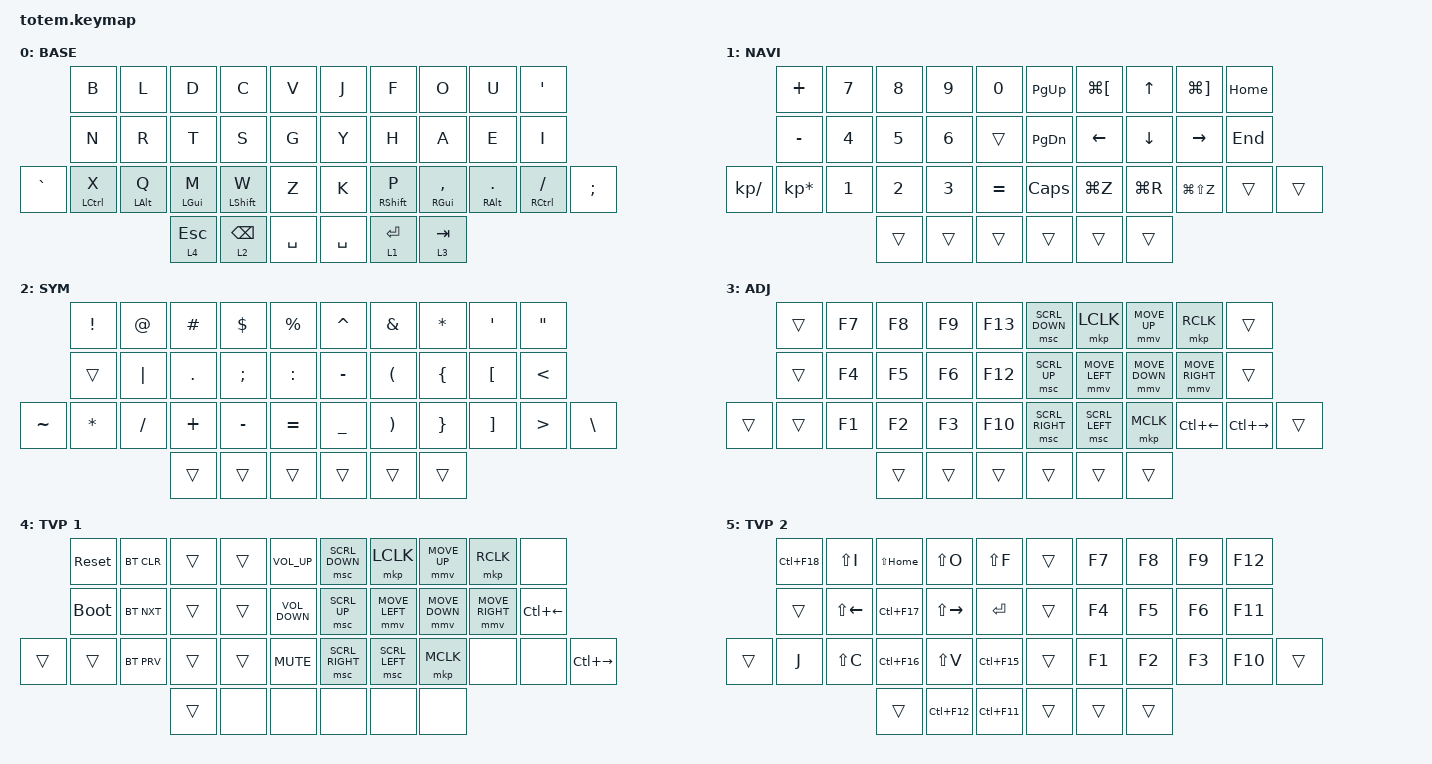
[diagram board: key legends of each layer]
//
//                                                        ▀▀▀▀▀     ▀▀▀▀▀          ▀▀█▀▀
//                                                        ▄▀▀▀▄  ▄  ▄▀▀▀▄  ▄  ▄▀▀▀▄  █  ▄▀▀▀▄
//                                                        █   █  █  █   █  █  █   █  █  █   █
//                                                         ▀▀▀   █   ▀▀▀   █   ▀▀▀   ▀   ▀▀▀
//                                                               █      ▄▄▄█▄▄▄    █   █  
//                                                               ▀      █  █  █     █▄█
//                                                             ▀▀▀▀▀    █  █  █      ▀
//                                                                      ▀  ▀  ▀
//
// ▄▄▄▄▄▄▄▄▄▄▄▄▄▄▄▄▄▄▄▄▄▄▄▄▄▄▄▄▄▄▄▄▄▄▄▄▄▄▄▄▄▄▄▄▄▄▄▄▄▄▄▄▄▄▄▄▄▄▄▄▄▄▄▄▄▄▄▄▄▄▄▄▄▄▄▄▄▄▄▄▄▄▄▄▄▄▄▄▄▄▄▄▄▄▄▄▄▄▄▄▄▄▄▄▄▄▄▄▄▄▄▄▄▄▄▄▄▄▄▄▄▄▄▄▄▄▄▄▄▄▄▄▄▄▄▄▄▄▄▄▄▄▄▄▄▄▄▄▄

#include <behaviors.dtsi>
#include <dt-bindings/zmk/bt.h>
#include <dt-bindings/zmk/keys.h>
#include <dt-bindings/zmk/pointing.h>

#define BASE 0
#define NAV  1
#define SYM  2
#define ADJ  3
#define TVP1 4
#define TVP2 5

&mt {
    quick-tap-ms = <100>;
    global-quick-tap;
    flavor = "tap-preferred";
    tapping-term-ms = <200>;
};

/ {
    combos {
        compatible = "zmk,combos";

        combo_esc {
            timeout-ms = <50>;
            key-positions = <0 1>;
            bindings = <&kp ESC>;
        };
    };

    macros {
        gif: gif {
            label = "giphy";
            compatible = "zmk,behavior-macro";
            #binding-cells = <0>;
            bindings =
                <&macro_press>,
                <&kp LSHFT>,
                <&macro_tap>,
                <&kp N2>,
                <&macro_release>,
                <&kp LSHFT>,
                <&macro_tap>,
                <&kp G &kp I &kp F>;
        };
    };

    keymap {
        compatible = "zmk,keymap";

        // ▄▄▄▄▄▄▄▄▄▄▄▄▄▄▄▄▄▄▄▄▄▄▄▄▄▄▄▄▄▄▄▄▄▄▄▄▄▄▄▄▄▄▄▄▄▄▄▄▄▄▄▄▄▄▄▄▄▄▄▄▄▄▄▄▄▄▄▄▄▄▄▄▄▄▄▄▄▄▄▄▄▄▄▄▄▄▄▄▄▄▄▄▄▄▄▄▄▄▄▄▄▄▄▄▄▄▄▄▄▄▄▄▄▄▄▄▄▄▄▄▄▄▄▄▄▄▄▄▄▄▄▄▄▄▄▄▄▄▄▄▄▄▄▄▄▄▄▄▄

        base_layer {
            // ┏━━━━━━━━━━━━━━━━━━━━━━━━━━━━━━━━━━━━━━━┓

            label = "BASE";

            // ┗━━━━━━━━━━━━━━━━━━━━━━━━━━━━━━━━━━━━━━━┛
            //             ┏━━━━━━━━━━━┳━━━━━━━━━━━┳━━━━━━━━━━━┳━━━━━━━━━━━┳━━━━━━━━━━━┓   ┏━━━━━━━━━━━┳━━━━━━━━━━━┳━━━━━━━━━━━┳━━━━━━━━━━━┳━━━━━━━━━━━┓
            //             ┃     Q     ┃     W     ┃     F     ┃     P     ┃     G     ┃   ┃     J     ┃     L     ┃     U     ┃     Y     ┃     ;     ┃
            //             ┣━━━━━━━━━━━╋━━━━━━━━━━━╋━━━━━━━━━━━╋━━━━━━━━━━━╋━━━━━━━━━━━┫   ┣━━━━━━━━━━━╋━━━━━━━━━━━╋━━━━━━━━━━━╋━━━━━━━━━━━╋━━━━━━━━━━━┫
            //             ┃     A     ┃     R     ┃     S     ┃     T     ┃     D     ┃   ┃     H     ┃     N     ┃     E     ┃     I     ┃     O     ┃
            // ┏━━━━━━━━━━━╋━━━━━━━━━━━╋━━━━━━━━━━━╋━━━━━━━━━━━╋━━━━━━━━━━━╋━━━━━━━━━━━┫   ┣━━━━━━━━━━━╋━━━━━━━━━━━╋━━━━━━━━━━━╋━━━━━━━━━━━╋━━━━━━━━━━━╋━━━━━━━━━━━┓
            // ┃     Q     ┃     Z     ┃     X     ┃     C     ┃     V     ┃     B     ┃   ┃     K     ┃     M     ┃     ,     ┃     .     ┃     /     ┃     \     ┃
            // ┗━━━━━━━━━━━┻━━━━━━━━━━━┻━━━━━━━━━━━╋━━━━━━━━━━━╋━━━━━━━━━━━╋━━━━━━━━━━━┫   ┣━━━━━━━━━━━╋━━━━━━━━━━━╋━━━━━━━━━━━╋━━━━━━━━━━━┻━━━━━━━━━━━┻━━━━━━━━━━━┛
            //                                     ┃    DEL    ┃    TAB    ┃    SPC    ┃   ┃   ENTER   ┃           ┃   BSPC    ┃
            //                                     ┗━━━━━━━━━━━┻━━━━━━━━━━━┻━━━━━━━━━━━┛   ┗━━━━━━━━━━━┻━━━━━━━━━━━┻━━━━━━━━━━━┛

            bindings = <
           &kp B               &kp L           &kp D           &kp C             &kp V        &kp J      &kp F              &kp O                &kp U                 &kp APOSTROPHE
           &kp N               &kp R           &kp T           &kp S             &kp G        &kp Y      &kp H              &kp A                &kp E                 &kp I
&kp GRAVE  &mt LEFT_CONTROL X  &mt LEFT_ALT Q  &mt LEFT_GUI M  &mt LEFT_SHIFT W  &kp Z        &kp K      &mt RIGHT_SHIFT P  &mt RIGHT_GUI COMMA  &mt RIGHT_ALT PERIOD  &mt RIGHT_CONTROL FSLH  &kp SEMICOLON
                                               &lt 4 ESCAPE    &lt 2 BACKSPACE   &kp SPACE    &kp SPACE  &lt 1 ENTER        &lt 3 TAB
            >;
        };

        // ▄▄▄▄▄▄▄▄▄▄▄▄▄▄▄▄▄▄▄▄▄▄▄▄▄▄▄▄▄▄▄▄▄▄▄▄▄▄▄▄▄▄▄▄▄▄▄▄▄▄▄▄▄▄▄▄▄▄▄▄▄▄▄▄▄▄▄▄▄▄▄▄▄▄▄▄▄▄▄▄▄▄▄▄▄▄▄▄▄▄▄▄▄▄▄▄▄▄▄▄▄▄▄▄▄▄▄▄▄▄▄▄▄▄▄▄▄▄▄▄▄▄▄▄▄▄▄▄▄▄▄▄▄▄▄▄▄▄▄▄▄▄▄▄▄▄▄▄▄

        nav_layer {
            // ┏━━━━━━━━━━━━━━━━━━━━━━━━━━━━━━━━━━━━━━━┓

            label = "NAVI";

            // ┗━━━━━━━━━━━━━━━━━━━━━━━━━━━━━━━━━━━━━━━┛
            //             ┏━━━━━━━━━━━┳━━━━━━━━━━━┳━━━━━━━━━━━┳━━━━━━━━━━━┳━━━━━━━━━━━┓   ┏━━━━━━━━━━━┳━━━━━━━━━━━┳━━━━━━━━━━━┳━━━━━━━━━━━┳━━━━━━━━━━━┓
            //             ┃           ┃           ┃     UP    ┃           ┃     {     ┃   ┃     }     ┃     7     ┃     8     ┃     9     ┃     +     ┃
            //             ┣━━━━━━━━━━━╋━━━━━━━━━━━╋━━━━━━━━━━━╋━━━━━━━━━━━╋━━━━━━━━━━━┫   ┣━━━━━━━━━━━╋━━━━━━━━━━━╋━━━━━━━━━━━╋━━━━━━━━━━━╋━━━━━━━━━━━┫
            //             ┃   SHIFT   ┃   LEFT    ┃    DOWN   ┃   RIGHT   ┃     [     ┃   ┃     ]     ┃     4     ┃     5     ┃     6     ┃     -     ┃
            // ┏━━━━━━━━━━━╋━━━━━━━━━━━╋━━━━━━━━━━━╋━━━━━━━━━━━╋━━━━━━━━━━━╋━━━━━━━━━━━┫   ┣━━━━━━━━━━━╋━━━━━━━━━━━╋━━━━━━━━━━━╋━━━━━━━━━━━╋━━━━━━━━━━━╋━━━━━━━━━━━┓
            // ┃           ┃           ┃   P UP    ┃  C LOCK   ┃  P DOWN   ┃     (     ┃   ┃     )     ┃     1     ┃     2     ┃     3     ┃     *     ┃           ┃
            // ┗━━━━━━━━━━━┻━━━━━━━━━━━┻━━━━━━━━━━━╋━━━━━━━━━━━╋━━━━━━━━━━━╋━━━━━━━━━━━┫   ┣━━━━━━━━━━━╋━━━━━━━━━━━╋━━━━━━━━━━━╋━━━━━━━━━━━┻━━━━━━━━━━━┻━━━━━━━━━━━┛
            //                                     ┃           ┃    TAB    ┃    SPC    ┃   ┃    DEL    ┃     0     ┃           ┃
            //                                     ┗━━━━━━━━━━━┻━━━━━━━━━━━┻━━━━━━━━━━━┛   ┗━━━━━━━━━━━┻━━━━━━━━━━━┻━━━━━━━━━━━┛

            bindings = <
               &kp PLUS         &kp N7        &kp N8        &kp N9        &kp N0       &kp PAGE_UP    &kp LG(LEFT_BRACKET)  &kp UP_ARROW  &kp LG(RIGHT_BRACKET)  &kp HOME
               &kp MINUS        &kp NUMBER_4  &kp N5        &kp NUMBER_6  &trans       &kp PAGE_DOWN  &kp LEFT_ARROW        &kp DOWN      &kp RIGHT_ARROW        &kp END
&kp KP_DIVIDE  &kp KP_ASTERISK  &kp NUMBER_1  &kp NUMBER_2  &kp NUMBER_3  &kp EQUAL    &kp CAPS       &kp LG(Z)             &kp LG(R)     &kp LG(LS(Z))          &trans    &trans
                                              &trans        &trans        &trans       &trans         &trans                &trans
            >;
        };

        // ▄▄▄▄▄▄▄▄▄▄▄▄▄▄▄▄▄▄▄▄▄▄▄▄▄▄▄▄▄▄▄▄▄▄▄▄▄▄▄▄▄▄▄▄▄▄▄▄▄▄▄▄▄▄▄▄▄▄▄▄▄▄▄▄▄▄▄▄▄▄▄▄▄▄▄▄▄▄▄▄▄▄▄▄▄▄▄▄▄▄▄▄▄▄▄▄▄▄▄▄▄▄▄▄▄▄▄▄▄▄▄▄▄▄▄▄▄▄▄▄▄▄▄▄▄▄▄▄▄▄▄▄▄▄▄▄▄▄▄▄▄▄▄▄▄▄▄▄▄

        sim_layer {
            // ┏━━━━━━━━━━━━━━━━━━━━━━━━━━━━━━━━━━━━━━━┓

            label = "SYM";

            // ┗━━━━━━━━━━━━━━━━━━━━━━━━━━━━━━━━━━━━━━━┛
            //             ┏━━━━━━━━━━━┳━━━━━━━━━━━┳━━━━━━━━━━━┳━━━━━━━━━━━┳━━━━━━━━━━━┓   ┏━━━━━━━━━━━┳━━━━━━━━━━━┳━━━━━━━━━━━┳━━━━━━━━━━━┳━━━━━━━━━━━┓
            //             ┃     !     ┃     @     ┃     #     ┃     $     ┃     %     ┃   ┃     ˆ     ┃     &     ┃     Ü     ┃     '     ┃     "     ┃
            //             ┣━━━━━━━━━━━╋━━━━━━━━━━━╋━━━━━━━━━━━╋━━━━━━━━━━━╋━━━━━━━━━━━┫   ┣━━━━━━━━━━━╋━━━━━━━━━━━╋━━━━━━━━━━━╋━━━━━━━━━━━╋━━━━━━━━━━━┫
            //             ┃     Ä     ┃           ┃    SZ     ┃           ┃           ┃   ┃   MUTE    ┃   YEN     ┃   EURO    ┃  POUND    ┃     Ö     ┃
            // ┏━━━━━━━━━━━╋━━━━━━━━━━━╋━━━━━━━━━━━╋━━━━━━━━━━━╋━━━━━━━━━━━╋━━━━━━━━━━━┫   ┣━━━━━━━━━━━╋━━━━━━━━━━━╋━━━━━━━━━━━╋━━━━━━━━━━━╋━━━━━━━━━━━╋━━━━━━━━━━━┓
            // ┃           ┃  EMAIL1   ┃  EMAIL2   ┃           ┃           ┃           ┃   ┃   VOL-    ┃   VOL+    ┃   LAST    ┃   NEXT    ┃     \     ┃           ┃
            // ┗━━━━━━━━━━━┻━━━━━━━━━━━┻━━━━━━━━━━━╋━━━━━━━━━━━╋━━━━━━━━━━━╋━━━━━━━━━━━┫   ┣━━━━━━━━━━━╋━━━━━━━━━━━╋━━━━━━━━━━━╋━━━━━━━━━━━┻━━━━━━━━━━━┻━━━━━━━━━━━┛
            //                                     ┃           ┃    GIF    ┃    ADJ    ┃   ┃           ┃           ┃           ┃
            //                                     ┗━━━━━━━━━━━┻━━━━━━━━━━━┻━━━━━━━━━━━┛   ┗━━━━━━━━━━━┻━━━━━━━━━━━┻━━━━━━━━━━━┛

            bindings = <
           &kp EXCL      &kp AT     &kp HASH    &kp DLLR       &kp PRCNT    &kp CARET       &kp AMPS               &kp ASTERISK     &kp SQT            &kp DQT
           &trans        &kp PIPE   &kp PERIOD  &kp SEMICOLON  &kp COLON    &kp MINUS       &kp LEFT_PARENTHESIS   &kp LEFT_BRACE   &kp LEFT_BRACKET   &kp LESS_THAN
&kp TILDE  &kp ASTERISK  &kp SLASH  &kp PLUS    &kp MINUS      &kp EQUAL    &kp UNDERSCORE  &kp RIGHT_PARENTHESIS  &kp RIGHT_BRACE  &kp RIGHT_BRACKET  &kp GREATER_THAN  &kp BACKSLASH
                                    &trans      &trans         &trans       &trans          &trans                 &trans
            >;
        };

        // ▄▄▄▄▄▄▄▄▄▄▄▄▄▄▄▄▄▄▄▄▄▄▄▄▄▄▄▄▄▄▄▄▄▄▄▄▄▄▄▄▄▄▄▄▄▄▄▄▄▄▄▄▄▄▄▄▄▄▄▄▄▄▄▄▄▄▄▄▄▄▄▄▄▄▄▄▄▄▄▄▄▄▄▄▄▄▄▄▄▄▄▄▄▄▄▄▄▄▄▄▄▄▄▄▄▄▄▄▄▄▄▄▄▄▄▄▄▄▄▄▄▄▄▄▄▄▄▄▄▄▄▄▄▄▄▄▄▄▄▄▄▄▄▄▄▄▄▄▄

        adjust_layer {
            // ┏━━━━━━━━━━━━━━━━━━━━━━━━━━━━━━━━━━━━━━━┓

            label = "ADJ";

            // ┗━━━━━━━━━━━━━━━━━━━━━━━━━━━━━━━━━━━━━━━┛
            //             ┏━━━━━━━━━━━┳━━━━━━━━━━━┳━━━━━━━━━━━┳━━━━━━━━━━━┳━━━━━━━━━━━┓   ┏━━━━━━━━━━━┳━━━━━━━━━━━┳━━━━━━━━━━━┳━━━━━━━━━━━┳━━━━━━━━━━━┓
            //             ┃   RESET   ┃ BT CLEAR  ┃  OUT TOG  ┃           ┃           ┃   ┃           ┃    F7     ┃    F8     ┃    F9     ┃    F12    ┃
            //             ┣━━━━━━━━━━━╋━━━━━━━━━━━╋━━━━━━━━━━━╋━━━━━━━━━━━╋━━━━━━━━━━━┫   ┣━━━━━━━━━━━╋━━━━━━━━━━━╋━━━━━━━━━━━╋━━━━━━━━━━━╋━━━━━━━━━━━┫
            //             ┃ BOOTLOAD  ┃ BT NEXT   ┃           ┃           ┃           ┃   ┃           ┃    F4     ┃    F5     ┃    F6     ┃    F11    ┃
            // ┏━━━━━━━━━━━╋━━━━━━━━━━━╋━━━━━━━━━━━╋━━━━━━━━━━━╋━━━━━━━━━━━╋━━━━━━━━━━━┫   ┣━━━━━━━━━━━╋━━━━━━━━━━━╋━━━━━━━━━━━╋━━━━━━━━━━━╋━━━━━━━━━━━╋━━━━━━━━━━━┓
            // ┃           ┃           ┃ BT PREV   ┃           ┃           ┃           ┃   ┃           ┃    F1     ┃    F2     ┃    F3     ┃    F10    ┃           ┃
            // ┗━━━━━━━━━━━┻━━━━━━━━━━━┻━━━━━━━━━━━╋━━━━━━━━━━━╋━━━━━━━━━━━╋━━━━━━━━━━━┫   ┣━━━━━━━━━━━╋━━━━━━━━━━━╋━━━━━━━━━━━╋━━━━━━━━━━━┻━━━━━━━━━━━┻━━━━━━━━━━━┛
            //                                     ┃           ┃           ┃           ┃   ┃           ┃           ┃           ┃
            //                                     ┗━━━━━━━━━━━┻━━━━━━━━━━━┻━━━━━━━━━━━┛   ┗━━━━━━━━━━━┻━━━━━━━━━━━┻━━━━━━━━━━━┛

            bindings = <
        &trans  &kp F7  &kp F8  &kp F9  &kp F13    &msc SCRL_DOWN   &mkp LCLK       &mmv MOVE_UP    &mkp RCLK           &trans
        &trans  &kp F4  &kp F5  &kp F6  &kp F12    &msc SCRL_UP     &mmv MOVE_LEFT  &mmv MOVE_DOWN  &mmv MOVE_RIGHT     &trans
&trans  &trans  &kp F1  &kp F2  &kp F3  &kp F10    &msc SCRL_RIGHT  &msc SCRL_LEFT  &mkp MCLK       &kp LC(LEFT_ARROW)  &kp LC(RIGHT)  &trans
                        &trans  &trans  &trans     &trans           &trans          &trans
            >;
        };

        // ▄▄▄▄▄▄▄▄▄▄▄▄▄▄▄▄▄▄▄▄▄▄▄▄▄▄▄▄▄▄▄▄▄▄▄▄▄▄▄▄▄▄▄▄▄▄▄▄▄▄▄▄▄▄▄▄▄▄▄▄▄▄▄▄▄▄▄▄▄▄▄▄▄▄▄▄▄▄▄▄▄▄▄▄▄▄▄▄▄▄▄▄▄▄▄▄▄▄▄▄▄▄▄▄▄▄▄▄▄▄▄▄▄▄▄▄▄▄▄▄▄▄▄▄▄▄▄▄▄▄▄▄▄▄▄▄▄▄▄▄▄▄▄▄▄▄▄▄▄

        tvp1_layer {
            // ┏━━━━━━━━━━━━━━━━━━━━━━━━━━━━━━━━━━━━━━━┓

            label = "TVP 1";

            // ┗━━━━━━━━━━━━━━━━━━━━━━━━━━━━━━━━━━━━━━━┛
            //             ┏━━━━━━━━━━━┳━━━━━━━━━━━┳━━━━━━━━━━━┳━━━━━━━━━━━┳━━━━━━━━━━━┓   ┏━━━━━━━━━━━┳━━━━━━━━━━━┳━━━━━━━━━━━┳━━━━━━━━━━━┳━━━━━━━━━━━┓
            //             ┃ NEXT FILE ┃ MARK IN   ┃ ROTATE    ┃ MARK OUT  ┃ SHOW SNAP ┃   ┃           ┃           ┃           ┃           ┃           ┃
            //             ┣━━━━━━━━━━━╋━━━━━━━━━━━╋━━━━━━━━━━━╋━━━━━━━━━━━╋━━━━━━━━━━━┫   ┣━━━━━━━━━━━╋━━━━━━━━━━━╋━━━━━━━━━━━╋━━━━━━━━━━━╋━━━━━━━━━━━┫
            //             ┃ TVP II    ┃ LEFT      ┃ PAN       ┃ RIGHT     ┃ PLAY/FLIP ┃   ┃           ┃           ┃           ┃           ┃           ┃
            // ┏━━━━━━━━━━━╋━━━━━━━━━━━╋━━━━━━━━━━━╋━━━━━━━━━━━╋━━━━━━━━━━━╋━━━━━━━━━━━┫   ┣━━━━━━━━━━━╋━━━━━━━━━━━╋━━━━━━━━━━━╋━━━━━━━━━━━╋━━━━━━━━━━━╋━━━━━━━━━━━┓
            // ┃ FULLSCR   ┃ SHIFT     ┃ COPY      ┃ DELETE    ┃ PASTE     ┃ IMG MARK  ┃   ┃           ┃           ┃           ┃           ┃           ┃           ┃
            // ┗━━━━━━━━━━━┻━━━━━━━━━━━┻━━━━━━━━━━━╋━━━━━━━━━━━╋━━━━━━━━━━━╋━━━━━━━━━━━┫   ┣━━━━━━━━━━━╋━━━━━━━━━━━╋━━━━━━━━━━━╋━━━━━━━━━━━┻━━━━━━━━━━━┻━━━━━━━━━━━┛
            //                                     ┃           ┃ UNDO/SAVE ┃  SEL/MOV  ┃   ┃           ┃           ┃           ┃
            //                                     ┗━━━━━━━━━━━┻━━━━━━━━━━━┻━━━━━━━━━━━┛   ┗━━━━━━━━━━━┻━━━━━━━━━━━┻━━━━━━━━━━━┛

            bindings = <
        &sys_reset   &bt BT_CLR  &trans  &trans  &kp C_VOLUME_UP      &msc SCRL_DOWN   &mkp LCLK       &mmv MOVE_UP    &mkp RCLK        &none
        &bootloader  &bt BT_NXT  &trans  &trans  &kp C_VOLUME_DOWN    &msc SCRL_UP     &mmv MOVE_LEFT  &mmv MOVE_DOWN  &mmv MOVE_RIGHT  &kp LC(LEFT)
&trans  &trans       &bt BT_PRV  &trans  &trans  &kp K_MUTE           &msc SCRL_RIGHT  &msc SCRL_LEFT  &mkp MCLK       &none            &none         &kp LC(RIGHT)
                                 &trans  &none   &none                &none            &none           &none
            >;
        };

        // ▄▄▄▄▄▄▄▄▄▄▄▄▄▄▄▄▄▄▄▄▄▄▄▄▄▄▄▄▄▄▄▄▄▄▄▄▄▄▄▄▄▄▄▄▄▄▄▄▄▄▄▄▄▄▄▄▄▄▄▄▄▄▄▄▄▄▄▄▄▄▄▄▄▄▄▄▄▄▄▄▄▄▄▄▄▄▄▄▄▄▄▄▄▄▄▄▄▄▄▄▄▄▄▄▄▄▄▄▄▄▄▄▄▄▄▄▄▄▄▄▄▄▄▄▄▄▄▄▄▄▄▄▄▄▄▄▄▄▄▄▄▄▄▄▄▄▄▄▄

        tvp2_layer {
            // ┏━━━━━━━━━━━━━━━━━━━━━━━━━━━━━━━━━━━━━━━┓

            label = "TVP 2";

            // ┗━━━━━━━━━━━━━━━━━━━━━━━━━━━━━━━━━━━━━━━┛
            //             ┏━━━━━━━━━━━┳━━━━━━━━━━━┳━━━━━━━━━━━┳━━━━━━━━━━━┳━━━━━━━━━━━┓   ┏━━━━━━━━━━━┳━━━━━━━━━━━┳━━━━━━━━━━━┳━━━━━━━━━━━┳━━━━━━━━━━━┓
            //             ┃ SOLO      ┃ TOGGLE IN ┃ RESET ROT ┃ TOGGLE OUT┃ TAKE SNAP ┃   ┃           ┃           ┃           ┃           ┃           ┃
            //             ┣━━━━━━━━━━━╋━━━━━━━━━━━╋━━━━━━━━━━━╋━━━━━━━━━━━╋━━━━━━━━━━━┫   ┣━━━━━━━━━━━╋━━━━━━━━━━━╋━━━━━━━━━━━╋━━━━━━━━━━━╋━━━━━━━━━━━┫
            //             ┃ ---       ┃ LAST KEY  ┃ NEW KEY   ┃ NEXT KEY  ┃ ENTER     ┃   ┃           ┃           ┃           ┃           ┃           ┃
            // ┏━━━━━━━━━━━╋━━━━━━━━━━━╋━━━━━━━━━━━╋━━━━━━━━━━━╋━━━━━━━━━━━╋━━━━━━━━━━━┫   ┣━━━━━━━━━━━╋━━━━━━━━━━━╋━━━━━━━━━━━╋━━━━━━━━━━━╋━━━━━━━━━━━╋━━━━━━━━━━━┓
            // ┃           ┃ FULLSCR   ┃ CPY2BRUSH ┃ DEL HEAD  ┃ PSTinPLACE┃ BOOK MARK ┃   ┃           ┃           ┃           ┃           ┃           ┃           ┃
            // ┗━━━━━━━━━━━┻━━━━━━━━━━━┻━━━━━━━━━━━╋━━━━━━━━━━━╋━━━━━━━━━━━╋━━━━━━━━━━━┫   ┣━━━━━━━━━━━╋━━━━━━━━━━━╋━━━━━━━━━━━╋━━━━━━━━━━━┻━━━━━━━━━━━┻━━━━━━━━━━━┛
            //                                     ┃           ┃ REDO/SAV1 ┃TRANS/WARP ┃   ┃           ┃           ┃           ┃
            //                                     ┗━━━━━━━━━━━┻━━━━━━━━━━━┻━━━━━━━━━━━┛   ┗━━━━━━━━━━━┻━━━━━━━━━━━┻━━━━━━━━━━━┛

            bindings = <
        &kp LC(F18)  &kp LS(I)     &kp LS(HOME)  &kp LS(O)      &kp LS(F)      &trans  &kp F7  &kp F8  &kp F9  &kp F12
        &trans       &kp LS(LEFT)  &kp LC(F17)   &kp LS(RIGHT)  &kp RET        &trans  &kp F4  &kp F5  &kp F6  &kp F11
&trans  &kp J        &kp LS(C)     &kp LC(F16)   &kp LS(V)      &kp LC(F15)    &trans  &kp F1  &kp F2  &kp F3  &kp F10  &trans
                                   &trans        &kp LC(F12)    &kp LC(F11)    &trans  &trans  &trans
            >;
        };
    };
};
